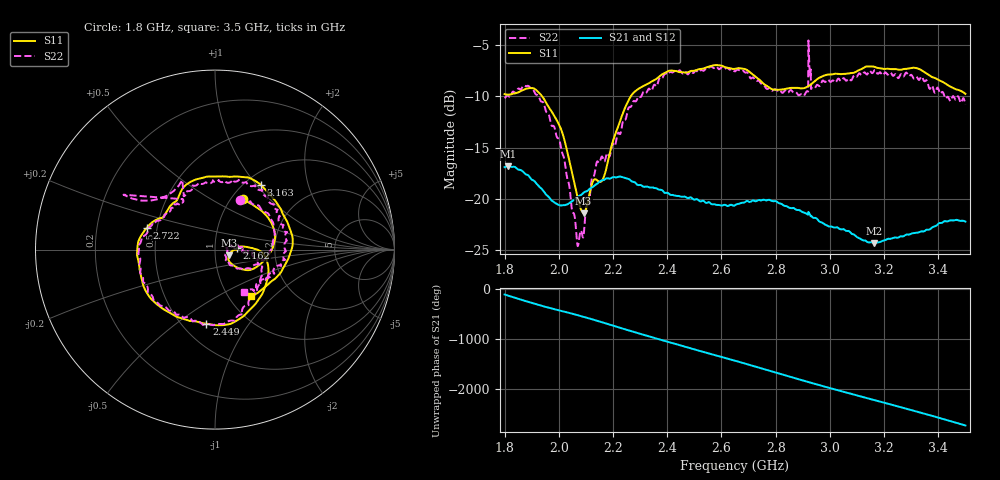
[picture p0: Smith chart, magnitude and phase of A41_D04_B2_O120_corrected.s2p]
! Created with skrf 1.9.0 (http://scikit-rf.org).
# Hz S RI R 50.0
!freq ReS11 ImS11 ReS21 ImS21 ReS12 ImS12 ReS22 ImS22
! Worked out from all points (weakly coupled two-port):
!   1601 points, 1.8 GHz to 3.5 GHz, reference 50 ohm
!   highest |S21| = -16.83 dB at 1.812 GHz (marker M1); lowest = -24.3 dB at 3.162 GHz (marker M2)
!   lowest |S11| = -21.4 dB at 2.091 GHz (marker M3), VSWR 1.19, Z = 58.4 - j3.81 ohm
!   |S11| at or under -10 dB: 1.939 GHz to 2.265 GHz (326 MHz wide, 15.5 % of centre)
!   |S22| runs from -24.7 to -4.5 dB; largest |S21 - S12| = 0.0023
!   S11 on the Smith chart (normalised r, x): 1.8 GHz: 1.14, +0.72; 2.162 GHz: 1.28, +0.02; 2.449 GHz: 0.65, -0.65; 2.722 GHz: 0.44, +0.13; 3.163 GHz: 1.18, +1.05; 3.5 GHz: 1.27, -0.73
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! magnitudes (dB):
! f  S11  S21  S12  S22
! 1.8 GHz  -9.8  -16.9  -16.9  -10.2
! 1.812 GHz  -9.8  -16.8  -16.8  -9.9
! 1.881 GHz  -9.2  -17.6  -17.6  -9.0
! 1.942 GHz  -10.1  -19.2  -19.2  -10.6
! 2.011 GHz  -13.4  -20.7  -20.6  -15.4
! 2.067 GHz  -19.6  -19.9  -19.9  -24.1
! 2.084 GHz  -21.2  -19.6  -19.6  -23.2
! 2.091 GHz  -21.4  -19.4  -19.5  -23.7
! 2.128 GHz  -18.2  -18.8  -18.8  -17.8
! 2.162 GHz  -18.1  -18.2  -18.1  -16.0
! 2.26 GHz  -10.2  -18.1  -18.1  -11.0
! 2.367 GHz  -8.1  -19.1  -19.0  -8.5
! 2.449 GHz  -7.6  -19.8  -19.8  -7.5
! 2.65 GHz  -7.3  -20.7  -20.6  -7.5
! 2.722 GHz  -8.0  -20.2  -20.1  -8.3
! 2.897 GHz  -9.2  -21.3  -21.3  -9.8
! 2.921 GHz  -9.0  -21.3  -21.3  -4.5
! 2.934 GHz  -8.7  -21.8  -21.7  -9.2
! 3.162 GHz  -7.1  -24.3  -24.3  -7.5
! 3.163 GHz  -7.1  -24.3  -24.3  -7.5
! 3.217 GHz  -7.3  -23.9  -23.9  -7.8
! 3.5 GHz  -9.8  -22.2  -22.2  -10.8
